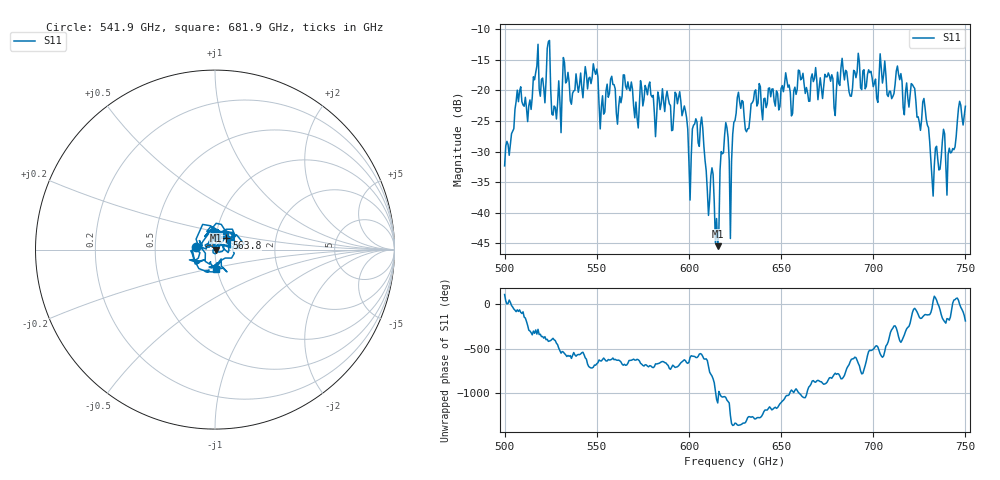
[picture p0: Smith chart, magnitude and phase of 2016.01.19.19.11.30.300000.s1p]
!Created with skrf (http://scikit-rf.org).
# GHz S RI R 50.0
!freq ReS11 ImS11
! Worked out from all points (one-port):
!   401 points, 500 GHz to 750 GHz, reference 50 ohm
!   lowest |S11| = -45.5 dB at 615.6 GHz (marker M1), VSWR 1.01, Z = 50.5 - j0.276 ohm
!   |S11| at or under -10 dB: start of sweep to end of sweep
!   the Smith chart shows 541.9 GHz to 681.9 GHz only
!   S11 on the Smith chart (normalised r, x): 541.9 GHz: 0.81, +0.02; 563.8 GHz: 1.13, +0.14; 681.9 GHz: 0.98, -0.22
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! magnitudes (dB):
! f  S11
! 500 GHz  -32.3
! 507.5 GHz  -21.8
! 516.9 GHz  -17.1
! 520.6 GHz  -18.0
! 523.8 GHz  -12.0
! 526.9 GHz  -22.6
! 531.2 GHz  -19.9
! 541.9 GHz  -19.6
! 562.5 GHz  -21.0
! 563.8 GHz  -20.9
! 571.2 GHz  -21.9
! 593.8 GHz  -22.2
! 600.6 GHz  -37.9
! 603.1 GHz  -25.5
! 607.5 GHz  -26.1
! 610 GHz  -36.5
! 615.6 GHz  -45.5
! 618.8 GHz  -30.2
! 622.5 GHz  -44.2
! 625 GHz  -24.9
! 656.2 GHz  -23.8
! 681.9 GHz  -19.2
! 687.5 GHz  -20.9
! 705 GHz  -18.8
! 718.8 GHz  -21.2
! 728.1 GHz  -22.9
! 732.5 GHz  -37.3
! 750 GHz  -22.6
